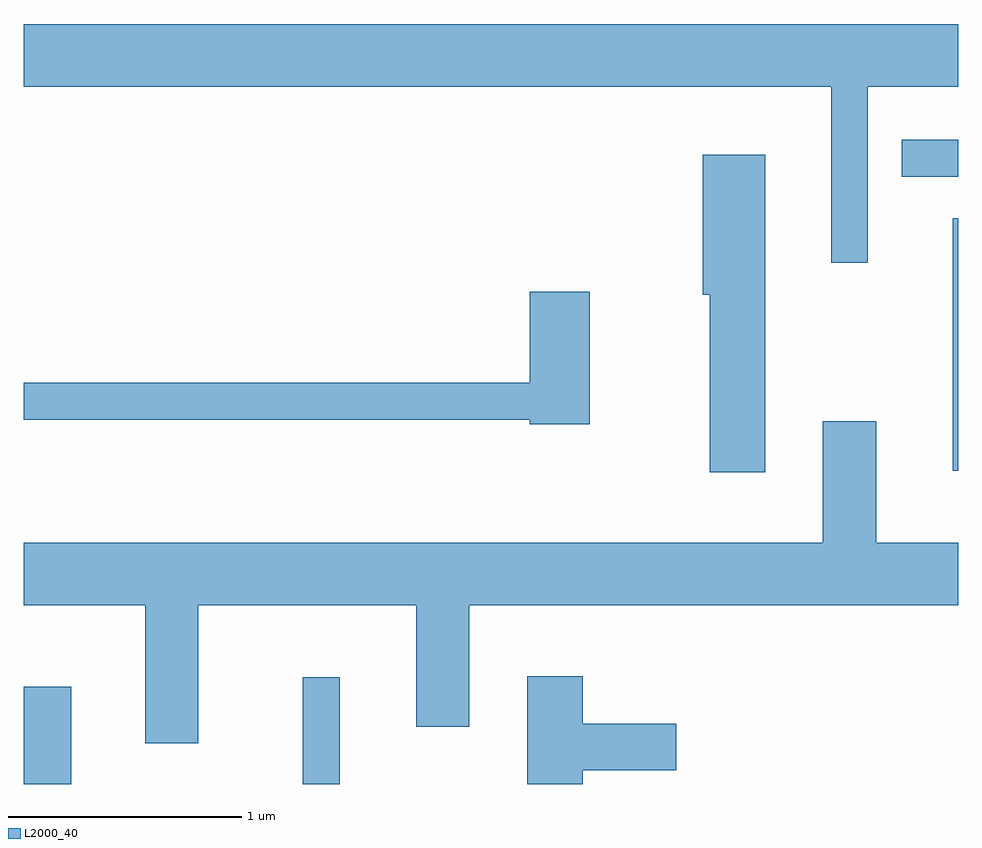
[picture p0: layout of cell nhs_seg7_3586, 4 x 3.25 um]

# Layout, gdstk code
import gdstk
lib = gdstk.Library(unit=1e-6, precision=1e-09)
def R(c, l, rs):  # rectangles x0, y0, x1, y1
    for r in rs: c.add(gdstk.rectangle(r[:2], r[2:], *l))
def P(c, l, *ps):  # polygons
    for p in ps: c.add(gdstk.Polygon(p, *l))
L2000_40 = (2000, 40)

nhs_seg7_3586 = lib.new_cell('nhs_seg7_3586')
R(nhs_seg7_3586, L2000_40, [(295.611,1680.252,295.814,1680.669), (296.806,1680.252,296.964,1680.708), (299.586,1681.593,299.611,1682.673), (299.368,1682.851,299.611,1683.009)])
P(nhs_seg7_3586, L2000_40, [(299.224,1683.236),(299.611,1683.236),(299.611,1683.504),(295.611,1683.504),(295.611,1683.236),(299.066,1683.236),(299.066,1682.483),(299.224,1682.483)],
  [(298.784,1682.944),(298.516,1682.944),(298.516,1682.346),(298.546,1682.346),(298.546,1681.586),(298.784,1681.586)],
  [(298.034,1682.359),(297.776,1682.359),(297.776,1681.969),(295.611,1681.969),(295.611,1681.811),(297.776,1681.811),(297.776,1681.791),(298.034,1681.791)],
  [(296.359,1681.016),(297.291,1681.016),(297.291,1680.496),(297.519,1680.496),(297.519,1681.016),(299.611,1681.016),(299.611,1681.284),(299.259,1681.284),(299.259,1681.804),(299.031,1681.804),(299.031,1681.284),(295.611,1681.284),(295.611,1681.016),(296.131,1681.016),(296.131,1680.426),(296.359,1680.426)],
  [(298.004,1680.311),(298.404,1680.311),(298.404,1680.509),(298.004,1680.509),(298.004,1680.714),(297.766,1680.714),(297.766,1680.252),(298.004,1680.252)])

lib.write_gds('nhs_seg7_3586.gds')
